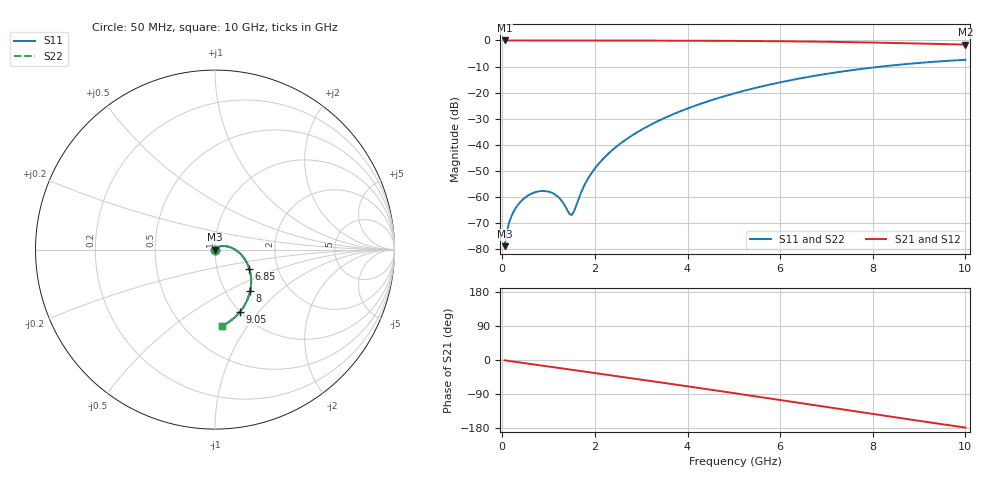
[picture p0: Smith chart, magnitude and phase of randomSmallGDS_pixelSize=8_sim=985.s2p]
! freq	dB(S11)	phase(S11)	dB(S12)	phase(S12)
!  dB(S21)	phase(S21)	dB(S22)	phase(S22)
!S-par simulation data
#  GHz  S  DB  R 50
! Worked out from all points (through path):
!   200 points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, 50 MHz to 10 GHz, reference 50 ohm
!   highest |S21| = 0.00 dB at 50 MHz (marker M1); lowest = -1.6 dB at 10 GHz (marker M2)
!   group delay of S21, straight-line fit = 49.8 ps
!   lowest |S11| = -78.8 dB at 50 MHz (marker M3), VSWR 1.00, Z = 50 - j0.0111 ohm
!   |S11| at or under -10 dB: start of sweep to 8.182 GHz
!   |S22| runs from -78.8 to -7.4 dB; largest |S21 - S12| = 0
!   S11 on the Smith chart (normalised r, x): 50 MHz: 1.00, -0.00; 6.85 GHz: 1.43, -0.32; 8 GHz: 1.30, -0.66; 9.05 GHz: 1.00, -0.81; 10 GHz: 0.74, -0.77
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0.05  -78.75 -74.4  -0.00 -0.9  -0.00 -0.9  -78.75 -74.4
0.1  -73.03 -83.5  -0.00 -1.7  -0.00 -1.7  -73.03 -83.5
0.2  -67.19 -89.7  -0.00 -3.5  -0.00 -3.5  -67.19 -89.7
0.35  -62.64 -94.6  -0.01 -6.1  -0.01 -6.1  -62.64 -94.6
0.5  -60.04 -98.7  -0.01 -8.7  -0.01 -8.7  -60.04 -98.6
0.8  -57.74 -107.2  -0.02 -13.8  -0.02 -13.8  -57.74 -107.1
1.05  -58.16 -116.5  -0.02 -18.1  -0.02 -18.1  -58.17 -116.3
1.25  -60.67 -129.6  -0.03 -21.5  -0.03 -21.5  -60.68 -129.3
1.45  -66.42 -176.1  -0.03 -25.0  -0.03 -25.0  -66.52 -175.7
1.5  -66.83 156.4  -0.03 -25.8  -0.03 -25.8  -66.97 156.5
1.75  -56.26 84.0  -0.03 -30.2  -0.03 -30.2  -56.29 83.6
2  -48.98 68.7  -0.04 -34.5  -0.04 -34.5  -48.99 68.5
2.35  -42.37 57.6  -0.05 -40.5  -0.05 -40.5  -42.37 57.5
2.8  -36.39 47.1  -0.06 -48.3  -0.06 -48.3  -36.40 47.0
3.4  -30.55 34.9  -0.07 -58.8  -0.07 -58.8  -30.55 34.9
5.05  -20.07 4.1  -0.17 -88.3  -0.17 -88.3  -20.08 4.1
6.7  -13.68 -26.2  -0.43 -118.5  -0.43 -118.5  -13.68 -26.2
6.85  -13.23 -28.9  -0.47 -121.2  -0.47 -121.2  -13.23 -29.0
8  -10.37 -49.8  -0.80 -142.4  -0.80 -142.4  -10.37 -49.8
8.35  -9.68 -56.0  -0.92 -148.8  -0.92 -148.8  -9.68 -56.1
9.05  -8.53 -68.3  -1.19 -161.5  -1.19 -161.5  -8.53 -68.4
10  -7.41 -84.5  -1.58 -178.3  -1.58 -178.3  -7.41 -84.6
